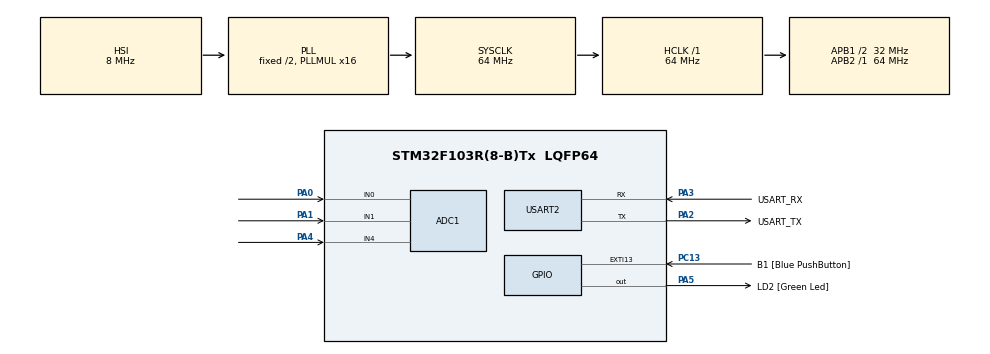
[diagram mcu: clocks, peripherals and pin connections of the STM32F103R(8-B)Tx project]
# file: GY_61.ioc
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ADC1.Channel-0\#ChannelRegularConversion=ADC_CHANNEL_0
ADC1.Channel-1\#ChannelRegularConversion=ADC_CHANNEL_1
ADC1.Channel-2\#ChannelRegularConversion=ADC_CHANNEL_4
ADC1.ContinuousConvMode=ENABLE
ADC1.NbrOfConversion=3
ADC1.NbrOfConversionFlag=1
ADC1.Rank-0\#ChannelRegularConversion=1
ADC1.Rank-1\#ChannelRegularConversion=2
ADC1.Rank-2\#ChannelRegularConversion=3
ADC1.SamplingTime-0\#ChannelRegularConversion=ADC_SAMPLETIME_239CYCLES_5
ADC1.SamplingTime-1\#ChannelRegularConversion=ADC_SAMPLETIME_239CYCLES_5
ADC1.SamplingTime-2\#ChannelRegularConversion=ADC_SAMPLETIME_239CYCLES_5
ADC1.master=1
Dma.ADC1.0.Direction=DMA_PERIPH_TO_MEMORY
Dma.ADC1.0.Instance=DMA1_Channel1
Dma.ADC1.0.MemDataAlignment=DMA_MDATAALIGN_HALFWORD
Dma.ADC1.0.MemInc=DMA_MINC_ENABLE
Dma.ADC1.0.Mode=DMA_CIRCULAR
Dma.ADC1.0.PeriphDataAlignment=DMA_PDATAALIGN_HALFWORD
Dma.ADC1.0.PeriphInc=DMA_PINC_DISABLE
Dma.ADC1.0.Priority=DMA_PRIORITY_LOW
Dma.Request0=ADC1
Mcu.Family=STM32F1
Mcu.Name=STM32F103R(8-B)Tx
Mcu.Package=LQFP64
NVIC.DMA1_Channel1_IRQn=true\:0\:0\:false\:false\:true\:false\:true\:true
NVIC.EXTI15_10_IRQn=true\:0\:0\:false\:false\:true\:true\:true\:true
NVIC.PriorityGroup=NVIC_PRIORITYGROUP_4
PA0-WKUP.Signal=ADCx_IN0
PA1.Signal=ADCx_IN1
PA13.GPIO_Label=TMS
PA13.Mode=Serial_Wire
PA13.Signal=SYS_JTMS-SWDIO
PA14.GPIO_Label=TCK
PA14.Mode=Serial_Wire
PA14.Signal=SYS_JTCK-SWCLK
PA2.GPIO_Label=USART_TX
PA2.GPIO_Mode=GPIO_MODE_AF_PP
PA2.GPIO_PuPd=GPIO_NOPULL
PA2.GPIO_Speed=GPIO_SPEED_FREQ_LOW
PA2.Mode=Asynchronous
PA2.Signal=USART2_TX
PA3.GPIO_Label=USART_RX
PA3.GPIO_Mode=GPIO_MODE_AF_PP
PA3.GPIO_PuPd=GPIO_NOPULL
PA3.GPIO_Speed=GPIO_SPEED_FREQ_LOW
PA3.Mode=Asynchronous
PA3.Signal=USART2_RX
PA4.Signal=ADCx_IN4
PA5.GPIO_Label=LD2 [Green Led]
PA5.GPIO_ModeDefaultOutputPP=GPIO_MODE_OUTPUT_PP
PA5.GPIO_PuPd=GPIO_NOPULL
PA5.GPIO_Speed=GPIO_SPEED_FREQ_LOW
PA5.Signal=GPIO_Output
PB3.GPIO_Label=SWO
PB3.Signal=SYS_JTDO-TRACESWO
PC13-TAMPER-RTC.GPIO_Label=B1 [Blue PushButton]
PC13-TAMPER-RTC.GPIO_PuPd=GPIO_NOPULL
PC13-TAMPER-RTC.Signal=GPXTI13
PC14-OSC32_IN.Mode=LSE-External-Oscillator
PC14-OSC32_IN.Signal=RCC_OSC32_IN
PC15-OSC32_OUT.Mode=LSE-External-Oscillator
PC15-OSC32_OUT.Signal=RCC_OSC32_OUT
PD0-OSC_IN.Mode=HSE-External-Clock-Source
PD0-OSC_IN.Signal=RCC_OSC_IN
PD1-OSC_OUT.Mode=HSE-External-Clock-Source
PD1-OSC_OUT.Signal=RCC_OSC_OUT
ProjectManager.HeapSize=0x200
ProjectManager.StackSize=0x400
ProjectManager.TargetToolchain=STM32CubeIDE
RCC.ADCPresc=RCC_ADCPCLK2_DIV8
RCC.AHBFreq_Value=64000000
RCC.APB1CLKDivider=RCC_HCLK_DIV2
RCC.APB1Freq_Value=32000000
RCC.APB1TimFreq_Value=64000000
RCC.APB2Freq_Value=64000000
RCC.APB2TimFreq_Value=64000000
RCC.HCLKFreq_Value=64000000
RCC.PLLMUL=RCC_PLL_MUL16
RCC.RTCClockSelection=RCC_RTCCLKSOURCE_LSE
RCC.SYSCLKFreq_VALUE=64000000
RCC.SYSCLKSource=RCC_SYSCLKSOURCE_PLLCLK
RCC.USBFreq_Value=64000000
SH.ADCx_IN0.0=ADC1_IN0,IN0
SH.ADCx_IN1.0=ADC1_IN1,IN1
SH.ADCx_IN4.0=ADC1_IN4,IN4
USART2.VirtualMode=VM_ASYNC
board=NUCLEO-F103RB

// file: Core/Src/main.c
/* USER CODE BEGIN Header */
/**
  ******************************************************************************
  * @file           : main.c
  * @brief          : Main program body
  ******************************************************************************
  * @attention
  *
  * Copyright (c) 2022 STMicroelectronics.
  * All rights reserved.
  *
  * This software is licensed under terms that can be found in the LICENSE file
  * in the root directory of this software component.
  * If no LICENSE file comes with this software, it is provided AS-IS.
  *
  ******************************************************************************
  */
/* USER CODE END Header */
#include "main.h"

/* USER CODE BEGIN Includes */
#define SCALE_MAX 90
#define SCALE_MIN -90

#define X_MAX 2360
#define Y_MAX 2355
#define Z_MAX 2380 //we get Z max

#define X_MIN 1554
#define Y_MIN 1549
#define Z_MIN 1566 //we get z min

/* USER CODE END Includes */

 ADC_HandleTypeDef hadc1;
DMA_HandleTypeDef hdma_adc1;
UART_HandleTypeDef huart2;

/* USER CODE BEGIN PV */
/* Private variables ---------------------------------------------------------*/
uint32_t data[3];
/* USER CODE END PV */

void SystemClock_Config(void);
static void MX_GPIO_Init(void);
static void MX_DMA_Init(void);
static void MX_USART2_UART_Init(void);
static void MX_ADC1_Init(void);
/* USER CODE BEGIN PFP */
/* Private function prototypes -----------------------------------------------*/
#ifdef __GNUC__
/* With GCC, small printf (option LD Linker->Libraries->Small printf
   set to 'Yes') calls __io_putchar() */
#define PUTCHAR_PROTOTYPE int __io_putchar(int ch)
#else
#define PUTCHAR_PROTOTYPE int fputc(int ch, FILE *f)
#endif /* __GNUC__ */

PUTCHAR_PROTOTYPE
{
  /* Place your implementation of fputc here */
  /* e.g. write a character to the USART1 and Loop until the end of transmission */
  HAL_UART_Transmit(&huart2, (uint8_t *)&ch, 1, 0xFFFF);

  return ch;
}
/* USER CODE END PFP */

/* USER CODE BEGIN 0 */
void HAL_ADC_ConvCpltCallback(ADC_HandleTypeDef* hadc)
{
	int32_t x_angle,y_angle,z_angle;

	//calculate angle
	x_angle = (int32_t)((float)((SCALE_MAX-SCALE_MIN)*(data[0]-X_MIN))/(X_MAX-X_MIN))+SCALE_MIN;
	y_angle = (int32_t)((float)((SCALE_MAX-SCALE_MIN)*(data[1]-Y_MIN))/(Y_MAX-Y_MIN))+SCALE_MIN;
	z_angle = (int32_t)((float)(SCALE_MAX-SCALE_MIN)*(data[2]-Z_MIN)/(Z_MAX-Z_MIN))+SCALE_MIN;

	//check min max limit of reading
	x_angle > SCALE_MAX ? (x_angle = SCALE_MAX) : (x_angle < SCALE_MIN ? (x_angle = SCALE_MIN) : x_angle);
	y_angle > SCALE_MAX ? (y_angle = SCALE_MAX) : (y_angle < SCALE_MIN ? (y_angle = SCALE_MIN) : y_angle);
	z_angle > SCALE_MAX ? (z_angle = SCALE_MAX) : (z_angle < SCALE_MIN ? (z_angle = SCALE_MIN) : z_angle);

	char buf[100];
	//sprintf(buf,"ADC raw data x = %ld, y = %ld, z = %ld\r\n",data[0],data[1],data[2]);
	//CDC_Transmit_FS((uint8_t*)buf,(uint16_t)strlen(buf));
	sprintf(buf,"%ld, %ld, %ld\r\n",x_angle,y_angle,z_angle);
	printf("X:%ld Y:%ld Z:%ld\r\n", x_angle,y_angle,z_angle);

}
/* USER CODE END 0 */

int main(void)
{

  /* MCU Configuration--------------------------------------------------------*/

  /* Reset of all peripherals, Initializes the Flash interface and the Systick. */
  HAL_Init();

  /* Configure the system clock */
  SystemClock_Config();

  /* Initialize all configured peripherals */
  MX_GPIO_Init();
  MX_DMA_Init();
  MX_USART2_UART_Init();
  MX_ADC1_Init();
  /* USER CODE BEGIN 2 */
  HAL_ADC_Start_DMA(&hadc1,(uint32_t*)data,3);
  /* USER CODE END 2 */

  /* Infinite loop */
  while (1)
  {

  }
}

void SystemClock_Config(void)
{
  RCC_OscInitTypeDef RCC_OscInitStruct = {0};
  RCC_ClkInitTypeDef RCC_ClkInitStruct = {0};
  RCC_PeriphCLKInitTypeDef PeriphClkInit = {0};

  /** Initializes the RCC Oscillators according to the specified parameters
  * in the RCC_OscInitTypeDef structure.
  */
  RCC_OscInitStruct.OscillatorType = RCC_OSCILLATORTYPE_HSI;
  RCC_OscInitStruct.HSIState = RCC_HSI_ON;
  RCC_OscInitStruct.HSICalibrationValue = RCC_HSICALIBRATION_DEFAULT;
  RCC_OscInitStruct.PLL.PLLState = RCC_PLL_ON;
  RCC_OscInitStruct.PLL.PLLSource = RCC_PLLSOURCE_HSI_DIV2;
  RCC_OscInitStruct.PLL.PLLMUL = RCC_PLL_MUL16;
  if (HAL_RCC_OscConfig(&RCC_OscInitStruct) != HAL_OK)
  {
    Error_Handler();
  }

  /** Initializes the CPU, AHB and APB buses clocks
  */
  RCC_ClkInitStruct.ClockType = RCC_CLOCKTYPE_HCLK|RCC_CLOCKTYPE_SYSCLK
                              |RCC_CLOCKTYPE_PCLK1|RCC_CLOCKTYPE_PCLK2;
  RCC_ClkInitStruct.SYSCLKSource = RCC_SYSCLKSOURCE_PLLCLK;
  RCC_ClkInitStruct.AHBCLKDivider = RCC_SYSCLK_DIV1;
  RCC_ClkInitStruct.APB1CLKDivider = RCC_HCLK_DIV2;
  RCC_ClkInitStruct.APB2CLKDivider = RCC_HCLK_DIV1;

  if (HAL_RCC_ClockConfig(&RCC_ClkInitStruct, FLASH_LATENCY_2) != HAL_OK)
  {
    Error_Handler();
  }
  PeriphClkInit.PeriphClockSelection = RCC_PERIPHCLK_ADC;
  PeriphClkInit.AdcClockSelection = RCC_ADCPCLK2_DIV8;
  if (HAL_RCCEx_PeriphCLKConfig(&PeriphClkInit) != HAL_OK)
  {
    Error_Handler();
  }
}

static void MX_ADC1_Init(void)
{

  ADC_ChannelConfTypeDef sConfig = {0};

  /** Common config
  */
  hadc1.Instance = ADC1;
  hadc1.Init.ScanConvMode = ADC_SCAN_ENABLE;
  hadc1.Init.ContinuousConvMode = ENABLE;
  hadc1.Init.DiscontinuousConvMode = DISABLE;
  hadc1.Init.ExternalTrigConv = ADC_SOFTWARE_START;
  hadc1.Init.DataAlign = ADC_DATAALIGN_RIGHT;
  hadc1.Init.NbrOfConversion = 3;
  if (HAL_ADC_Init(&hadc1) != HAL_OK)
  {
    Error_Handler();
  }

  /** Configure Regular Channel
  */
  sConfig.Channel = ADC_CHANNEL_0;
  sConfig.Rank = ADC_REGULAR_RANK_1;
  sConfig.SamplingTime = ADC_SAMPLETIME_239CYCLES_5;
  if (HAL_ADC_ConfigChannel(&hadc1, &sConfig) != HAL_OK)
  {
    Error_Handler();
  }

  /** Configure Regular Channel
  */
  sConfig.Channel = ADC_CHANNEL_1;
  sConfig.Rank = ADC_REGULAR_RANK_2;
  if (HAL_ADC_ConfigChannel(&hadc1, &sConfig) != HAL_OK)
  {
    Error_Handler();
  }

  /** Configure Regular Channel
  */
  sConfig.Channel = ADC_CHANNEL_4;
  sConfig.Rank = ADC_REGULAR_RANK_3;
  if (HAL_ADC_ConfigChannel(&hadc1, &sConfig) != HAL_OK)
  {
    Error_Handler();
  }

}

static void MX_USART2_UART_Init(void)
{

  huart2.Instance = USART2;
  huart2.Init.BaudRate = 115200;
  huart2.Init.WordLength = UART_WORDLENGTH_8B;
  huart2.Init.StopBits = UART_STOPBITS_1;
  huart2.Init.Parity = UART_PARITY_NONE;
  huart2.Init.Mode = UART_MODE_TX_RX;
  huart2.Init.HwFlowCtl = UART_HWCONTROL_NONE;
  huart2.Init.OverSampling = UART_OVERSAMPLING_16;
  if (HAL_UART_Init(&huart2) != HAL_OK)
  {
    Error_Handler();
  }

}

static void MX_DMA_Init(void)
{

  /* DMA controller clock enable */
  __HAL_RCC_DMA1_CLK_ENABLE();

  /* DMA interrupt init */
  /* DMA1_Channel1_IRQn interrupt configuration */
  HAL_NVIC_SetPriority(DMA1_Channel1_IRQn, 0, 0);
  HAL_NVIC_EnableIRQ(DMA1_Channel1_IRQn);

}

static void MX_GPIO_Init(void)
{
  GPIO_InitTypeDef GPIO_InitStruct = {0};

  /* GPIO Ports Clock Enable */
  __HAL_RCC_GPIOC_CLK_ENABLE();
  __HAL_RCC_GPIOD_CLK_ENABLE();
  __HAL_RCC_GPIOA_CLK_ENABLE();
  __HAL_RCC_GPIOB_CLK_ENABLE();

  /*Configure GPIO pin Output Level */
  HAL_GPIO_WritePin(LD2_GPIO_Port, LD2_Pin, GPIO_PIN_RESET);

  /*Configure GPIO pin : B1_Pin */
  GPIO_InitStruct.Pin = B1_Pin;
  GPIO_InitStruct.Mode = GPIO_MODE_IT_RISING;
  GPIO_InitStruct.Pull = GPIO_NOPULL;
  HAL_GPIO_Init(B1_GPIO_Port, &GPIO_InitStruct);

  /*Configure GPIO pin : LD2_Pin */
  GPIO_InitStruct.Pin = LD2_Pin;
  GPIO_InitStruct.Mode = GPIO_MODE_OUTPUT_PP;
  GPIO_InitStruct.Pull = GPIO_NOPULL;
  GPIO_InitStruct.Speed = GPIO_SPEED_FREQ_LOW;
  HAL_GPIO_Init(LD2_GPIO_Port, &GPIO_InitStruct);

  /* EXTI interrupt init*/
  HAL_NVIC_SetPriority(EXTI15_10_IRQn, 0, 0);
  HAL_NVIC_EnableIRQ(EXTI15_10_IRQn);

}

void Error_Handler(void)
{
  __disable_irq();
  while (1)
  {
  }
}
